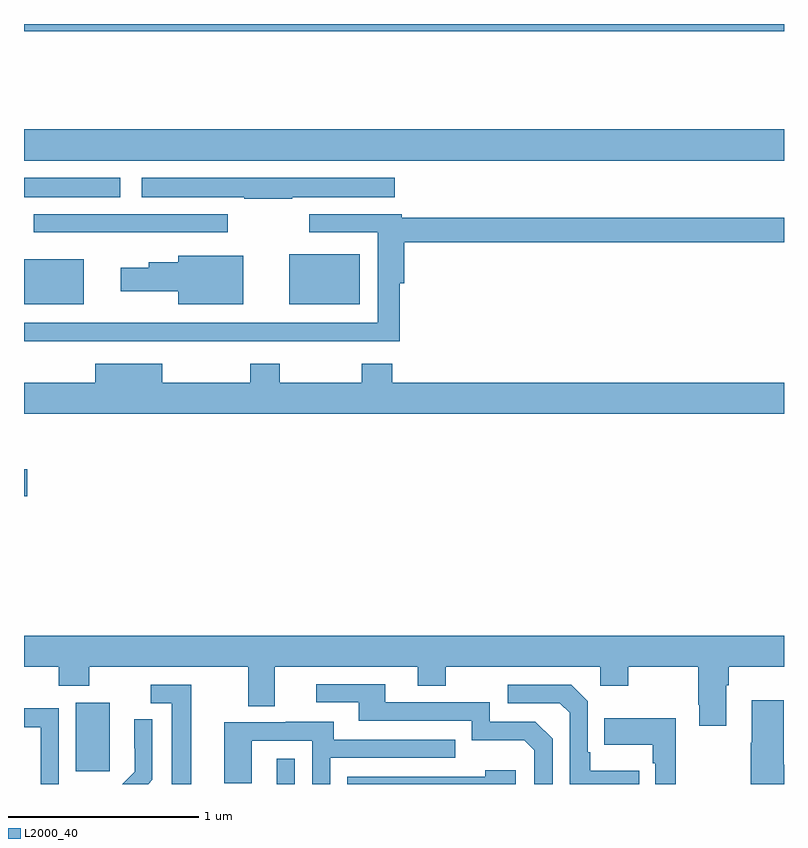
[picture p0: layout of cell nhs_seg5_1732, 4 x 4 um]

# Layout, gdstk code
import gdstk
lib = gdstk.Library(unit=1e-6, precision=1e-09)
def R(c, l, rs):  # rectangles x0, y0, x1, y1
    for r in rs: c.add(gdstk.rectangle(r[:2], r[2:], *l))
def P(c, l, *ps):  # polygons
    for p in ps: c.add(gdstk.Polygon(p, *l))
L2000_40 = (2000, 40)

nhs_seg5_1732 = lib.new_cell('nhs_seg5_1732')
R(nhs_seg5_1732, L2000_40, [(216.329,866.799,216.426,866.932), (215.273,866.865,215.452,867.226), (215,868.313,215.017,868.455), (215,869.324,215.314,869.56), (216.395,869.324,216.766,869.587), (215,869.888,215.506,869.989), (215,870.08,219,870.244), (215,870.76,219,870.799)])
P(nhs_seg5_1732, L2000_40, [(216.413,869.888),(216.952,869.888),(216.952,869.989),(215.619,869.989),(215.619,869.888),(216.16,869.888),(216.16,869.878),(216.413,869.878)],
  [(215.661,869.703),(216.073,869.703),(216.073,869.799),(215.052,869.799),(215.052,869.702),(215.661,869.702)],
  [(215.279,869.13),(215.824,869.13),(215.824,869.129),(216.101,869.129),(216.101,869.13),(216.433,869.13),(216.433,869.129),(216.689,869.129),(216.689,869.13),(216.977,869.13),(216.977,869.435),(217.001,869.435),(217.001,869.65),(219,869.65),(219,869.779),(216.988,869.779),(216.988,869.799),(216.501,869.799),(216.501,869.703),(216.861,869.703),(216.861,869.226),(215.717,869.226),(215.717,869.227),(215.41,869.227),(215.41,869.226),(215,869.226),(215,869.13),(215.023,869.13),(215.023,869.129),(215.279,869.129)],
  [(216.154,869.578),(215.813,869.578),(215.813,869.545),(215.657,869.545),(215.657,869.515),(215.508,869.515),(215.508,869.393),(215.813,869.393),(215.813,869.324),(216.154,869.324)],
  [(219,868.912),(216.938,868.912),(216.938,869.011),(216.778,869.011),(216.778,868.912),(216.345,868.912),(216.345,869.011),(216.19,869.011),(216.19,868.912),(215.728,868.912),(215.728,869.011),(215.375,869.011),(215.375,868.912),(215,868.912),(215,868.748),(219,868.748)],
  [(218.695,867.32),(218.708,867.32),(218.708,867.416),(219,867.416),(219,867.58),(215,867.58),(215,867.416),(215.183,867.416),(215.183,867.317),(215.343,867.317),(215.343,867.416),(216.179,867.416),(216.179,867.208),(216.319,867.208),(216.319,867.416),(217.073,867.416),(217.073,867.317),(217.221,867.317),(217.221,867.416),(218.034,867.416),(218.034,867.317),(218.181,867.317),(218.181,867.416),(218.548,867.416),(218.548,867.217),(218.555,867.217),(218.555,867.105),(218.695,867.105)],
  [(217.782,867.036),(217.692,867.126),(217.452,867.126),(217.452,867.228),(216.901,867.228),(216.901,867.324),(216.537,867.324),(216.537,867.228),(216.761,867.228),(216.761,867.132),(217.356,867.132),(217.356,867.029),(217.633,867.029),(217.686,866.976),(217.686,866.799),(217.782,866.799)],
  [(218.237,866.869),(217.981,866.869),(217.981,866.965),(217.968,866.965),(217.968,867.234),(217.881,867.321),(217.545,867.321),(217.545,867.225),(217.821,867.225),(217.872,867.174),(217.872,866.799),(218.237,866.799)],
  [(215.881,867.321),(215.667,867.321),(215.667,867.225),(215.777,867.225),(215.777,866.799),(215.881,866.799)],
  [(219,866.9),(218.999,866.9),(218.999,867.241),(218.831,867.241),(218.831,867.017),(218.824,867.017),(218.824,866.799),(219,866.799)],
  [(215.184,867.198),(215,867.198),(215,867.099),(215.088,867.099),(215.088,866.799),(215.184,866.799)],
  [(218.431,867.145),(218.053,867.145),(218.053,867.005),(218.31,867.005),(218.31,866.909),(218.322,866.909),(218.322,866.799),(218.431,866.799)],
  [(215.676,866.822),(215.676,867.14),(215.58,867.14),(215.58,866.986),(215.582,866.986),(215.582,866.864),(215.517,866.799),(215.653,866.799)],
  [(216.612,866.937),(217.271,866.937),(217.271,867.033),(216.631,867.033),(216.631,867.127),(216.377,867.127),(216.377,867.123),(216.053,867.123),(216.053,866.803),(216.198,866.803),(216.198,867.027),(216.516,867.027),(216.516,866.799),(216.612,866.799)],
  [(217.588,866.872),(217.427,866.872),(217.427,866.838),(216.702,866.838),(216.702,866.799),(217.588,866.799)])

lib.write_gds('nhs_seg5_1732.gds')
